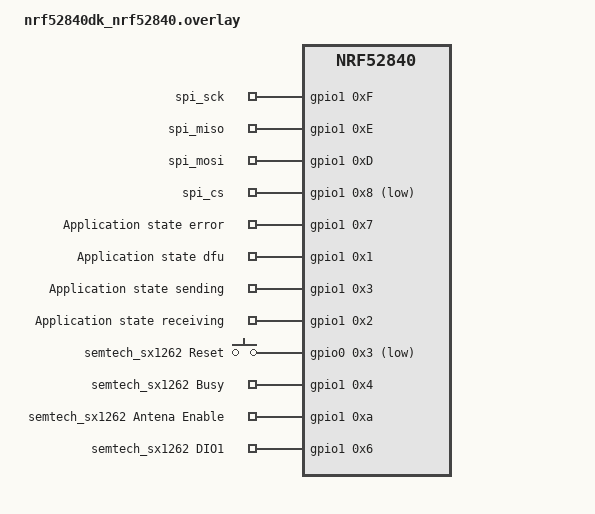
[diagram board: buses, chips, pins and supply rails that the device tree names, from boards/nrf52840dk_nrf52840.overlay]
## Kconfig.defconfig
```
#
# Copyright (c) 2022 Nordic Semiconductor ASA
#
# SPDX-License-Identifier: LicenseRef-Nordic-5-Clause
#

# Bluetooth
config BT_REMOTE_VERSION
	default y

config BT_BUF_ACL_TX_SIZE
	default 251
	default 502 if SIDEWALK_DFU_BLE_FAST

config BT_BUF_ACL_TX_COUNT
	default 3

config BT_BUF_ACL_RX_SIZE
	default 251
	default 502 if SIDEWALK_DFU_BLE_FAST

config BT_BUF_ACL_RX_COUNT
	default 6

config BT_L2CAP_TX_MTU
	default 247
	default 498 if SIDEWALK_DFU_BLE_FAST

config BT_CTLR_DATA_LENGTH_MAX
	default 247
	default 251 if SIDEWALK_DFU_BLE_FAST

config BT_PERIPHERAL_PREF_MIN_INT
	default 16

config BT_PERIPHERAL_PREF_MAX_INT
	default 60

config BT_PERIPHERAL_PREF_LATENCY
	default 0

config BT_PERIPHERAL_PREF_TIMEOUT
	default 400

# NVM
config NVS_LOOKUP_CACHE
	default y

config NVS_LOOKUP_CACHE_SIZE
	default 256

# Stack and Heap
config SYSTEM_WORKQUEUE_STACK_SIZE
	default 4096

config LOG_PROCESS_THREAD_STARTUP_DELAY_MS
	default 50 if SHELL

config SHELL_STACK_SIZE
	default 8192 if SID_END_DEVICE_CLI

config HEAP_MEM_POOL_SIZE
	default 4096

config MBEDTLS_HEAP_SIZE
	default 4096

config SPI_NRFX_RAM_BUFFER_SIZE
	default 0

# CLI
if SID_END_DEVICE_CLI

config SHELL_CMD_BUFF_SIZE
	default 1024

config SHELL_BACKEND_SERIAL_TX_RING_BUFFER_SIZE
	default 128

config SHELL_BACKEND_SERIAL_RX_RING_BUFFER_SIZE
	default 1024

endif # SID_END_DEVICE_CLI

# Others
config SPIN_VALIDATE
    default n

config PARTITION_MANAGER_ENABLED
	default y


config SIDEWALK_MFG_STORAGE_WRITE
	default y
```

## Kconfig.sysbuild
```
#
# Copyright (c) 2023 Nordic Semiconductor ASA
#
# SPDX-License-Identifier: LicenseRef-Nordic-5-Clause
#

config NRF_DEFAULT_IPC_RADIO
	default y if BOARD_NRF5340DK_NRF5340_CPUAPP || BOARD_THINGY53_NRF5340_CPUAPP

choice BOOTLOADER
	default BOOTLOADER_MCUBOOT
endchoice

if BOOTLOADER_MCUBOOT

# Downgrade prevention
choice MCUBOOT_MODE
	default MCUBOOT_MODE_OVERWRITE_ONLY
endchoice

config DFU_MULTI_IMAGE_PACKAGE_BUILD
	default y

config DFU_MULTI_IMAGE_PACKAGE_APP
	default y

config PM_EXTERNAL_FLASH_MCUBOOT_SECONDARY
	default y if BOARD_NRF5340DK_NRF5340_CPUAPP || BOARD_THINGY53_NRF5340_CPUAPP

if (BOARD_NRF5340DK_NRF5340_CPUAPP || BOARD_THINGY53_NRF5340_CPUAPP)

config MCUBOOT_UPDATEABLE_IMAGES
	default 2

choice BOOT_SIGNATURE_TYPE
	default BOOT_SIGNATURE_TYPE_RSA
endchoice

config SECURE_BOOT
	default y

config SECURE_BOOT_NETCORE
	default y

config NETCORE_APP_UPDATE
	default y

config DFU_MULTI_IMAGE_PACKAGE_NET
	default y

endif # (BOARD_NRF5340DK_NRF5340_CPUAPP || BOARD_THINGY53_NRF5340_CPUAPP)

if (BOARD_NRF54L15DK_NRF54L15_CPUAPP || BOARD_NRF54L15DK_NRF54L15_CPUAPP_NS)

# TODO: NCSDK-28931: Cannot use fprotect twice, so disable it in MCUboot to
# test protecting factory data. It can be enabled while there is a support
# for protection more than one region.
config MCUBOOT_FPROTECT_ALLOW_COMBINED_REGIONS
	default n

endif # (BOARD_NRF54L15DK_NRF54L15_CPUAPP || BOARD_NRF54L15DK_NRF54L15_CPUAPP_NS)

endif # BOOTLOADER_MCUBOOT

source "${ZEPHYR_BASE}/share/sysbuild/Kconfig"
```

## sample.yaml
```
sample:
  name: Sidewalk end device sample
  description: Sample implementing Amazon Sidewalk End Device
common:
  sysbuild: true
  build_only: true
  platform_allow:
    - nrf52840dk/nrf52840
    - nrf5340dk/nrf5340/cpuapp
    - nrf54l15dk/nrf54l15/cpuapp
    - nrf54l15dk/nrf54l15/cpuapp/ns
  integration_platforms:
    - nrf52840dk/nrf52840
    - nrf5340dk/nrf5340/cpuapp
    - nrf54l15dk/nrf54l15/cpuapp
    - nrf54l15dk/nrf54l15/cpuapp/ns
tests:
  sample.sidewalk.hello:
    extra_configs:
      - CONFIG_SID_END_DEVICE_PERSISTENT_LINK_MASK=y
      - CONFIG_SIDEWALK_FILE_TRANSFER=y
      - CONFIG_SIDEWALK_APPLICATION_NAME="hello"
    tags: Sidewalk hello

  sample.sidewalk.hello.release:
    extra_args:
      FILE_SUFFIX=release
    extra_configs:
      - CONFIG_SID_END_DEVICE_PERSISTENT_LINK_MASK=y
      - CONFIG_SIDEWALK_APPLICATION_NAME="hello.release"
    tags: Sidewalk hello

  sample.sidewalk.hello.ble_only:
    extra_configs:
      - CONFIG_SIDEWALK_SUBGHZ_SUPPORT=n
      - CONFIG_SIDEWALK_APPLICATION_NAME="hello.ble_only"
    tags: Sidewalk hello BLE

  sample.sidewalk.hello.ble_only.release:
    extra_args:
      FILE_SUFFIX=release
    extra_configs:
      - CONFIG_SIDEWALK_SUBGHZ_SUPPORT=n
      - CONFIG_SIDEWALK_APPLICATION_NAME="hello.ble_only.release"
    tags: Sidewalk hello BLE

  sample.sidewalk.demo:
    extra_args:
      OVERLAY_CONFIG="overlay-demo.conf"
    extra_configs:
      - CONFIG_SID_END_DEVICE_PERSISTENT_LINK_MASK=y
      - CONFIG_SIDEWALK_APPLICATION_NAME="demo"
    tags: Sidewalk demo

  sample.sidewalk.demo.ble_only:
    platform_allow:
      - thingy53/nrf5340/cpuapp
    extra_args:
      OVERLAY_CONFIG="overlay-demo.conf"
    extra_configs:
      - CONFIG_SIDEWALK_SUBGHZ_SUPPORT=n
      - CONFIG_SIDEWALK_APPLICATION_NAME="demo.ble_only"
    integration_platforms:
      - thingy53/nrf5340/cpuapp
    tags: Sidewalk demo BLE

  sample.sidewalk.dut:
    extra_args:
      OVERLAY_CONFIG="overlay-dut.conf"
    extra_configs:
      - CONFIG_SIDEWALK_APPLICATION_NAME="dut"
    tags: Sidewalk cli

  sample.sidewalk.dut.ble_only:
    extra_args:
      OVERLAY_CONFIG="overlay-dut.conf"
    extra_configs:
      - CONFIG_SIDEWALK_SUBGHZ_SUPPORT=n
      - CONFIG_SIDEWALK_APPLICATION_NAME="dut"
    tags: Sidewalk cli BLE

  sample.sidewalk.dut.no_secure:
    extra_args:
      OVERLAY_CONFIG="overlay-dut.conf"
    extra_configs:
      - CONFIG_SIDEWALK_CRYPTO_PSA_KEY_STORAGE=n
      - CONFIG_SIDEWALK_APPLICATION_NAME="dut.no_secure"
    tags: Sidewalk cli no_secure
```

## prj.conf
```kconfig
#
# Copyright (c) 2023 Nordic Semiconductor ASA
#
# SPDX-License-Identifier: LicenseRef-Nordic-5-Clause
#

# Sidewalk
CONFIG_SIDEWALK=y
CONFIG_SIDEWALK_DFU=n
CONFIG_SMF=y

# Log
CONFIG_LOG=y
CONFIG_LOG_PRINTK=y
CONFIG_LOG_BUFFER_SIZE=2048
CONFIG_NVS_LOG_LEVEL_WRN=y

# Bluetooth
CONFIG_BT_DEVICE_NAME="Nordic"

# Power Management
CONFIG_PM_DEVICE=y

# Debug
CONFIG_RESET_ON_FATAL_ERROR=n
CONFIG_SYS_HEAP_RUNTIME_STATS=y
```

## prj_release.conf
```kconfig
#
# Copyright (c) 2022 Nordic Semiconductor ASA
#
# SPDX-License-Identifier: LicenseRef-Nordic-5-Clause
#

# Sidewalk
CONFIG_SIDEWALK=y
CONFIG_SIDEWALK_DFU=n
CONFIG_SMF=y

# Bluetooth
CONFIG_BT_DEVICE_NAME="Nordic"

# Disable peripherals
CONFIG_LOG=n
CONFIG_SERIAL=n
CONFIG_SHELL=n
CONFIG_CONSOLE=n
CONFIG_UART_CONSOLE=n
CONFIG_ASSERT=n
CONFIG_ASSERT_VERBOSE=n
CONFIG_ASSERT_NO_FILE_INFO=y
CONFIG_PRINTK_SYNC=n
CONFIG_THREAD_NAME=n

# Power Management
CONFIG_PM_DEVICE=y
```

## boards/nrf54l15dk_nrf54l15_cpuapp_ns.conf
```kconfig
#
# Copyright (c) 2024 Nordic Semiconductor ASA
#
# SPDX-License-Identifier: LicenseRef-Nordic-5-Clause
#

# Multirole is the only currently supported role by SoftDevice.
CONFIG_BT_LL_SOFTDEVICE_MULTIROLE=y

# nRF54L15 requires bigger stack sizes than nRF52/nRF53 families
CONFIG_MPSL_WORK_STACK_SIZE=2048

# Not supported for 54L15 _NS
CONFIG_FPROTECT=n

# Set the ZMS sector count to match the settings partition size that is 40 kB for this application.
CONFIG_SETTINGS_ZMS_SECTOR_COUNT=10

# Disable tf-m uart to reuse pins for semtech
# CONFIG_TFM_LOG_LEVEL_SILENCE=y
# CONFIG_TFM_SECURE_UART=n
```

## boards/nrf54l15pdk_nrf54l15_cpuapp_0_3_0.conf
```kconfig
#
# Copyright (c) 2024 Nordic Semiconductor ASA
#
# SPDX-License-Identifier: LicenseRef-Nordic-5-Clause
#

CONFIG_SOC_FLASH_NRF_TIMEOUT_MULTIPLIER=100

# Use TRUSTED_STORAGE because this is a secure-only board
CONFIG_TRUSTED_STORAGE=y
```

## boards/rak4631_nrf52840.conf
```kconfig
#
# Copyright (c) 2024 Nordic Semiconductor ASA
#
# SPDX-License-Identifier: LicenseRef-Nordic-5-Clause
#

CONFIG_SIDEWALK_DFU=n

# RTT console
CONFIG_LOG_BACKEND_RTT=y
CONFIG_LOG_BACKEND_RTT_BUFFER=1
CONFIG_SHELL_BACKEND_RTT=y
CONFIG_SHELL=y
CONFIG_LOG_BACKEND_RTT_BUFFER_SIZE=8096
```

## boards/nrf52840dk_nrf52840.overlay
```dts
/*
 * Copyright (c) 2023 Nordic Semiconductor ASA
 *
 * SPDX-License-Identifier: LicenseRef-Nordic-5-Clause
 */

&spi3 {
	status = "disabled";
};

&spi2 {
	status = "disabled";
};

/{
	nrfx_spi_gpios{
		compatible = "gpio-keys";
		nrfx_spi_sck: sck {
			gpios = <&gpio1 0xF GPIO_ACTIVE_HIGH>;
			label = "spi_sck";
		};
		nrfx_spi_miso: miso {
			gpios = <&gpio1 0xE GPIO_ACTIVE_HIGH>;
			label = "spi_miso";
		};
		nrfx_spi_mosi: mosi {
			gpios = <&gpio1 0xD GPIO_ACTIVE_HIGH>;
			label = "spi_mosi";
		};
		nrfx_spi_cs: cs {
			gpios = <&gpio1 0x8 GPIO_ACTIVE_LOW>;
			label = "spi_cs";
		};
	};

	state_notifier_gpios{
		compatible = "gpio-keys";
		state_notifier_error: error  {
			gpios = <&gpio1 0x7 0x0>;
			label = "Application state error";
		};
		state_notifier_dfu: dfu  {
			gpios = <&gpio1 0x1 0x0>;
			label = "Application state dfu";
		};
		state_notifier_sending: sending  {
			gpios = <&gpio1 0x3 0x0>;
			label = "Application state sending";
		};
		state_notifier_receiving: receiving  {
			gpios = <&gpio1 0x2 0x0>;
			label = "Application state receiving";
		};
	};

	aliases {
		state-notifier-connected = &led0;
		state-notifier-time-sync = &led1;
		state-notifier-registered = &led2;
		state-notifier-working = &led3;
		state-notifier-error = &state_notifier_error;
		state-notifier-dfu = &state_notifier_dfu;
		state-notifier-sending = &state_notifier_sending;
		state-notifier-receiving = &state_notifier_receiving;
	};

	semtech_sx1262_gpios{
		compatible = "gpio-keys";
		semtech_sx1262_reset_gpios: reset {
			gpios = <&gpio0 0x3 (GPIO_ACTIVE_LOW|GPIO_PULL_UP)>;
			label = "semtech_sx1262 Reset";
		};
		semtech_sx1262_busy_gpios: busy {
			gpios = <&gpio1 0x4 GPIO_ACTIVE_HIGH>;
			label = "semtech_sx1262 Busy";
		};
		semtech_sx1262_antenna_enable_gpios: antena_enable {
			gpios = <&gpio1 0xa GPIO_ACTIVE_HIGH>;
			label = "semtech_sx1262 Antena Enable";
		};
		semtech_sx1262_dio1_gpios: dio1 {
			gpios = <&gpio1 0x6 (GPIO_ACTIVE_HIGH|GPIO_PULL_DOWN)>;
			label = "semtech_sx1262 DIO1";
		};
	};
};
```

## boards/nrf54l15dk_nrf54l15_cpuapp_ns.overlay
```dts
/*
 * Copyright (c) 2024 Nordic Semiconductor ASA
 *
 * SPDX-License-Identifier: LicenseRef-Nordic-5-Clause
 */

 /{
	aliases {
		state-notifier-connected = &led0;
		state-notifier-time-sync = &led1;
		state-notifier-registered = &led2;
		state-notifier-working = &led3;
	};
};

&cpuapp_rram {
	reg = <0x0 DT_SIZE_K(1524)>;
};

&cpuapp_sram {
	reg = <0x20000000 DT_SIZE_K(256)>;
	ranges = <0x0 0x20000000  0x40000>;
};

// TODO: re-enable HWFC once it's fixed
&uart20 {
	/delete-property/ hw-flow-control;
};


// Change IRQ ids to handle button interrupts.

// The default values for nRF54L15 are 219 and 269,
// but with TF-M they are reserved for the secure domain
// (218 and 268 are reserved for the non-secure domain).
&gpiote20 {
	interrupts = <218 NRF_DEFAULT_IRQ_PRIORITY>;
};

&gpiote30 {
	interrupts = <268 NRF_DEFAULT_IRQ_PRIORITY>;
};
```

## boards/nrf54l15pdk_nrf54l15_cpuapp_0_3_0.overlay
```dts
/*
 * Copyright (c) 2024 Nordic Semiconductor ASA
 *
 * SPDX-License-Identifier: LicenseRef-Nordic-5-Clause
 */


/* Application does not use cpuflpr core. Assign whole RRAM to cpuapp. */
&cpuapp_rram {
	reg = <0x0 DT_SIZE_K(512)>;
};

&pinctrl {
	spi21_default: spi21_default {
		group1 {
			psels = <NRF_PSEL(SPIM_SCK, 2, 6)>,
			        <NRF_PSEL(SPIM_MISO, 1, 11)>,
			        <NRF_PSEL(SPIM_MOSI, 2, 8)>;
		};
	};

	spi21_sleep: spi21_sleep {
		group1 {
			psels = <NRF_PSEL(SPIM_SCK, 2, 6)>,
			        <NRF_PSEL(SPIM_MISO, 1, 11)>,
			        <NRF_PSEL(SPIM_MOSI, 2, 8)>;
			low-power-enable;
		};
	};
};

sid_semtech: &spi21 {
	compatible = "nordic,nrf-spim";
	status = "okay";
	pinctrl-0 = <&spi21_default>;
	pinctrl-1 = <&spi21_sleep>;
	pinctrl-names = "default", "sleep";
	clock-frequency = <DT_FREQ_M(8)>;
};

/{
	aliases {
		state-notifier-connected = &led0;
		state-notifier-time-sync = &led1;
		state-notifier-registered = &led2;
		state-notifier-working = &led3;
	};

	semtech_sx1262_gpios{
		compatible = "gpio-keys";
		semtech_sx1262_cs: cs {
			gpios = <&gpio2 0xa GPIO_PULL_UP>;
			label = "semtech_sx1262 CS";
		};
		semtech_sx1262_reset_gpios: reset {
			gpios = <&gpio0 0x2 (GPIO_ACTIVE_LOW|GPIO_PULL_UP)>;
			label = "semtech_sx1262 Reset";
		};
		semtech_sx1262_busy_gpios: busy {
			gpios = <&gpio0 0x0 0x0>;
			label = "semtech_sx1262 Busy";
		};
		semtech_sx1262_antenna_enable_gpios: antena_enable {
			gpios = <&gpio0 0x1 0x0>;
			label = "semtech_sx1262 Antena Enable";
		};
		semtech_sx1262_dio1_gpios: dio1 {
			gpios = <&gpio0 0x3  0x0>;
			label = "semtech_sx1262 DIO1";
		};
	};
};

&gpio1 {
	status = "okay";
};

&gpio2 {
	status = "okay";
};

&gpio0 {
	status = "okay";
};
```

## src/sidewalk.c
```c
/*
 * Copyright (c) 2023 Nordic Semiconductor ASA
 *
 * SPDX-License-Identifier: LicenseRef-Nordic-5-Clause
 */
#include <sidewalk.h>
#include <sid_pal_common_ifc.h>
#include <sid_hal_memory_ifc.h>
#include <json_printer/sidTypes2Json.h>
#include <sidewalk_dfu/nordic_dfu.h>
#include <app_mfg_config.h>
#ifdef CONFIG_SIDEWALK_SUBGHZ_SUPPORT
#include <app_subGHz_config.h>
#endif /* CONFIG_SIDEWALK_SUBGHZ_SUPPORT */
#ifdef CONFIG_SIDEWALK_FILE_TRANSFER
#include <sbdt/file_transfer.h>
#include <sid_bulk_data_transfer_api.h>
#ifdef CONFIG_SIDEWALK_FILE_TRANSFER_DFU
#include <sidewalk_dfu/nordic_dfu_img.h>
#include <zephyr/dfu/mcuboot.h>
#endif /* CONFIG_SIDEWALK_FILE_TRANSFER_DFU */
#include <stdio.h> // print hash only
#include <sid_pal_crypto_ifc.h> // print hash only
#endif /* CONFIG_SIDEWALK_FILE_TRANSFER */
#ifdef CONFIG_SID_END_DEVICE_CLI
#include <cli/app_dut.h>
#endif /* CONFIG_SID_END_DEVICE_CLI */
#ifdef CONFIG_SID_END_DEVICE_PERSISTENT_LINK_MASK
#include <settings_utils.h>
#endif /* CONFIG_SID_END_DEVICE_PERSISTENT_LINK_MASK */

#include <zephyr/kernel.h>
#include <zephyr/smf.h>
#include <zephyr/sys/reboot.h>
#include <zephyr/logging/log.h>
#include <zephyr/logging/log_ctrl.h>

#ifdef CONFIG_SIDEWALK_LINK_MASK_BLE
#define DEFAULT_LM (uint32_t)(SID_LINK_TYPE_1)
#elif CONFIG_SIDEWALK_LINK_MASK_FSK
#define DEFAULT_LM (uint32_t)(SID_LINK_TYPE_2)
#elif CONFIG_SIDEWALK_LINK_MASK_LORA
#define DEFAULT_LM (uint32_t)(SID_LINK_TYPE_1 | SID_LINK_TYPE_3)
#else
#define DEFAULT_LM (uint32_t)(SID_LINK_TYPE_1)
#endif

LOG_MODULE_REGISTER(sidewalk_app, CONFIG_SIDEWALK_LOG_LEVEL);

static struct k_thread sid_thread;
K_THREAD_STACK_DEFINE(sid_thread_stack, CONFIG_SIDEWALK_THREAD_STACK_SIZE);

sys_slist_t pending_message_list = SYS_SLIST_STATIC_INIT(&pending_message_list);
K_MUTEX_DEFINE(pending_message_list_mutex);

sidewalk_msg_t *get_message_buffer(uint16_t message_id)
{
	sidewalk_msg_t *pending_message;
	sidewalk_msg_t *iterator;
	int mutex_err =
		k_mutex_lock(&pending_message_list_mutex, k_is_in_isr() ? K_NO_WAIT : K_FOREVER);
	if (mutex_err != 0) {
		LOG_ERR("Failed to lock mutex for message list");
		return NULL;
	}
	SYS_SLIST_FOR_EACH_CONTAINER_SAFE (&pending_message_list, pending_message, iterator, node) {
		if (pending_message->desc.id == message_id) {
			if (sys_slist_find_and_remove(&pending_message_list,
						      &pending_message->node) == false) {
				LOG_ERR("Failed to remove pending message from list");
			};
			k_mutex_unlock(&pending_message_list_mutex);
			return pending_message;
		}
	}
	k_mutex_unlock(&pending_message_list_mutex);
	return NULL;
}

typedef struct sm_s {
	struct smf_ctx ctx;
	struct k_msgq msgq;
	sidewalk_ctx_event_t event;
	sidewalk_ctx_t *sid;
} sm_t;

enum state {
	STATE_SIDEWALK,
	STATE_DFU,
};

static void state_sidewalk_run(void *o);
static void state_sidewalk_entry(void *o);
static void state_sidewalk_exit(void *o);
static void state_dfu_entry(void *o);
static void state_dfu_run(void *o);

static const struct smf_state sid_states[] = {
	[STATE_SIDEWALK] = SMF_CREATE_STATE(state_sidewalk_entry, state_sidewalk_run,
					    state_sidewalk_exit, NULL, NULL),
	[STATE_DFU] = SMF_CREATE_STATE(state_dfu_entry, state_dfu_run, NULL, NULL, NULL),
};

static uint8_t __aligned(4)
	sid_msgq_buff[CONFIG_SIDEWALK_THREAD_QUEUE_SIZE * sizeof(sidewalk_ctx_event_t)];
static sm_t sid_sm;

static void state_sidewalk_entry(void *o)
{
	platform_parameters_t platform_parameters = {
		.mfg_store_region.addr_start = APP_MFG_CFG_FLASH_START,
		.mfg_store_region.addr_end = APP_MFG_CFG_FLASH_END,
#ifdef CONFIG_SIDEWALK_SUBGHZ_SUPPORT
		.platform_init_parameters.radio_cfg =
			(radio_sx126x_device_config_t *)get_radio_cfg(),
#endif
	};

	sid_error_t e = sid_platform_init(&platform_parameters);
	if (SID_ERROR_NONE != e) {
		LOG_ERR("Sidewalk Platform Init err: %d", e);
		return;
	}

	if (app_mfg_cfg_is_valid()) {
		LOG_ERR("The mfg.hex version mismatch");
		LOG_ERR("Check if the file has been generated and flashed properly");
		LOG_ERR("START ADDRESS: 0x%08x", APP_MFG_CFG_FLASH_START);
		LOG_ERR("SIZE: 0x%08x", APP_MFG_CFG_FLASH_SIZE);
		return;
	}

#ifdef CONFIG_SID_END_DEVICE_AUTO_START
	sm_t *sm = (sm_t *)o;

#ifdef CONFIG_SID_END_DEVICE_PERSISTENT_LINK_MASK
	int err = settings_utils_link_mask_get(&sm->sid->config.link_mask);
	if (err <= 0) {
		LOG_WRN("Link mask get failed %d", err);
		sm->sid->config.link_mask = 0;
		settings_utils_link_mask_set(DEFAULT_LM);
	}
#endif /* CONFIG_SID_END_DEVICE_PERSISTENT_LINK_MASK */

	if (!sm->sid->config.link_mask) {
		sm->sid->config.link_mask = DEFAULT_LM;
	}

	LOG_INF("Sidewalk link switch to %s",
		(SID_LINK_TYPE_3 & sm->sid->config.link_mask) ? "LoRa" :
		(SID_LINK_TYPE_2 & sm->sid->config.link_mask) ? "FSK" :
								"BLE");
	e = sid_init(&sm->sid->config, &sm->sid->handle);
	if (e) {
		LOG_ERR("sid init err %d", (int)e);
	}

	e = sid_start(sm->sid->handle, sm->sid->config.link_mask);
	if (e) {
		LOG_ERR("sid start err %d", (int)e);
	}

#if CONFIG_SID_END_DEVICE_AUTO_CONN_REQ
	if (sm->sid->config.link_mask & SID_LINK_TYPE_1) {
		enum sid_link_connection_policy set_policy =
			SID_LINK_CONNECTION_POLICY_AUTO_CONNECT;

		e = sid_option(sm->sid->handle, SID_OPTION_SET_LINK_CONNECTION_POLICY, &set_policy,
			       sizeof(set_policy));
		if (e) {
			LOG_ERR("sid option multi link manager err %d", (int)e);
		}

		struct sid_link_auto_connect_params ac_params = {
			.link_type = SID_LINK_TYPE_1,
			.enable = true,
			.priority = 0,
			.connection_attempt_timeout_seconds = 30
		};

		e = sid_option(sm->sid->handle, SID_OPTION_SET_LINK_POLICY_AUTO_CONNECT_PARAMS,
			       &ac_params, sizeof(ac_params));
		if (e) {
			LOG_ERR("sid option multi link policy err %d", (int)e);
		}
	}
#endif /* CONFIG_SID_END_DEVICE_AUTO_CONN_REQ */

#endif /* CONFIG_SIDEWALK_AUTO_START */

#ifdef CONFIG_SIDEWALK_FILE_TRANSFER_DFU
	/* TODO: Remove. == TEST ONLY BEGIN == */
	int dfu_err = nordic_dfu_img_init();
	if (dfu_err) {
		LOG_ERR("dfu img init fail %d", dfu_err);
	} else {
		LOG_INF("dfu img init ok");
	}

	/* == TEST ONLY END == */

	dfu_err = boot_write_img_confirmed();
	if (dfu_err) {
		LOG_ERR("img confirm fail %d", dfu_err);
	}
#endif /* CONFIG_SIDEWALK_FILE_TRANSFER_DFU */
#ifdef CONFIG_SIDEWALK_FILE_TRANSFER
	app_file_transfer_demo_init(((sm_t *)o)->sid->handle);
#endif /* CONFIG_SIDEWALK_FILE_TRANSFER */
}

static void state_sidewalk_run(void *o)
{
	sm_t *sm = (sm_t *)o;
	sid_error_t e = SID_ERROR_NONE;

	switch (sm->event.id) {
	case SID_EVENT_SIDEWALK: {
		e = sid_process(sm->sid->handle);
		if (e) {
			LOG_ERR("sid process err %d", (int)e);
		}
	} break;
	case SID_EVENT_FACTORY_RESET: {
#ifdef CONFIG_SID_END_DEVICE_PERSISTENT_LINK_MASK
		(void)settings_utils_link_mask_set(0);
#endif /* CONFIG_SIDEWALK_PERSISTENT_LINK_MASK */
		e = sid_set_factory_reset(sm->sid->handle);
		if (e) {
			LOG_ERR("sid factory reset err %d", (int)e);
		}
	} break;
	case SID_EVENT_LINK_SWITCH: {
		static uint32_t new_link_mask = DEFAULT_LM;

		switch (sm->sid->config.link_mask) {
		case SID_LINK_TYPE_1:
			new_link_mask = SID_LINK_TYPE_2;
			break;
		case SID_LINK_TYPE_2:
			new_link_mask = SID_LINK_TYPE_1 | SID_LINK_TYPE_3;
			break;
		default:
			new_link_mask = SID_LINK_TYPE_1;
			break;
		}
		sm->sid->config.link_mask = new_link_mask;

		LOG_INF("Sidewalk link switch to %s", (SID_LINK_TYPE_3 & new_link_mask) ? "LoRa" :
						      (SID_LINK_TYPE_2 & new_link_mask) ? "FSK" :
											  "BLE");
#ifdef CONFIG_SID_END_DEVICE_PERSISTENT_LINK_MASK
		int err = settings_utils_link_mask_set(new_link_mask);
		if (err) {
			LOG_ERR("New link mask set err %d", err);
		}
#endif /* CONFIG_SID_END_DEVICE_PERSISTENT_LINK_MASK */

		if (sm->sid->handle != NULL) {
#ifdef CONFIG_SIDEWALK_FILE_TRANSFER
			app_file_transfer_demo_deinit(sm->sid->handle);
#endif
			e = sid_deinit(sm->sid->handle);
			if (e) {
				LOG_ERR("sid deinit err %d", (int)e);
			}
		}

		e = sid_init(&sm->sid->config, &sm->sid->handle);
		if (e) {
			LOG_ERR("sid init err %d", (int)e);
		}
#ifdef CONFIG_SIDEWALK_FILE_TRANSFER
		app_file_transfer_demo_init(sm->sid->handle);
#endif
		e = sid_start(sm->sid->handle, sm->sid->config.link_mask);
		if (e) {
			LOG_ERR("sid start err %d", (int)e);
		}
#if CONFIG_SID_END_DEVICE_AUTO_CONN_REQ
		if (sm->sid->config.link_mask & SID_LINK_TYPE_1) {
			enum sid_link_connection_policy set_policy =
				SID_LINK_CONNECTION_POLICY_AUTO_CONNECT;

			e = sid_option(sm->sid->handle, SID_OPTION_SET_LINK_CONNECTION_POLICY,
				       &set_policy, sizeof(set_policy));
			if (e) {
				LOG_ERR("sid option multi link manager err %d", (int)e);
			}

			struct sid_link_auto_connect_params ac_params = {
				.link_type = SID_LINK_TYPE_1,
				.enable = true,
				.priority = 0,
				.connection_attempt_timeout_seconds = 30
			};

			e = sid_option(sm->sid->handle,
				       SID_OPTION_SET_LINK_POLICY_AUTO_CONNECT_PARAMS, &ac_params,
				       sizeof(ac_params));
			if (e) {
				LOG_ERR("sid option multi link policy err %d", (int)e);
			}
		}
#endif /* CONFIG_SID_END_DEVICE_AUTO_CONN_REQ */
	} break;
	case SID_EVENT_NORDIC_DFU: {
#ifdef CONFIG_SIDEWALK_FILE_TRANSFER
		app_file_transfer_demo_deinit(sm->sid->handle);
#endif
		e = sid_deinit(sm->sid->handle);
		if (e) {
			LOG_ERR("sid deinit err %d", (int)e);
		}
		smf_set_state(SMF_CTX(sm), &sid_states[STATE_DFU]);
	} break;
	case SID_EVENT_NEW_STATUS: {
		struct sid_status *p_status = (struct sid_status *)sm->event.ctx;
		if (!p_status) {
			LOG_ERR("sid new status is NULL");
			break;
		}

		memcpy(&sm->sid->last_status, p_status, sizeof(struct sid_status));
		sid_hal_free(p_status);
	} break;
	case SID_EVENT_SEND_MSG: {
		sidewalk_msg_t *p_msg = (sidewalk_msg_t *)sm->event.ctx;
		if (!p_msg) {
			LOG_ERR("sid send msg is NULL");
			break;
		}

		e = sid_put_msg(sm->sid->handle, &p_msg->msg, &p_msg->desc);
		if (e) {
			LOG_ERR("sid send err %d", (int)e);
		}
		LOG_DBG("sid send (type: %d, id: %u)", (int)p_msg->desc.type, p_msg->desc.id);
		int mutex_err = k_mutex_lock(&pending_message_list_mutex, K_FOREVER);
		if (mutex_err != 0) {
			LOG_ERR("Failed to lock mutex for message list");
			break;
		}
		sys_slist_append(&pending_message_list, &p_msg->node);
		k_mutex_unlock(&pending_message_list_mutex);
	} break;
	case SID_EVENT_CONNECT: {
		if (!(sm->sid->config.link_mask & SID_LINK_TYPE_1)) {
			LOG_ERR("Can not request connection - BLE not enabled");
			return;
		}
		sid_error_t e = sid_ble_bcn_connection_request(sm->sid->handle, true);
		if (e) {
			LOG_ERR("sid conn req err %d", (int)e);
		}
	} break;
	case SID_EVENT_FILE_TRANSFER: {
#ifdef CONFIG_SIDEWALK_FILE_TRANSFER
		sidewalk_transfer_t *transfer = (sidewalk_transfer_t *)sm->event.ctx;
		if (!transfer) {
			LOG_ERR("File transfer event data is NULL");
			break;
		}

		LOG_INF("Received file Id %d; buffer size %d; file offset %d", transfer->file_id,
			transfer->data_size, transfer->file_offset);

		// print data hash
		uint8_t hash_out[32];
		sid_pal_hash_params_t params = { .algo = SID_PAL_HASH_SHA256,
						 .data = transfer->data,
						 .data_size = transfer->data_size,
						 .digest = hash_out,
						 .digest_size = sizeof(hash_out) };

		sid_error_t e = sid_pal_crypto_hash(&params);
		if (e != SID_ERROR_NONE) {
			LOG_ERR("Failed to hash received file transfer with error %s",
				SID_ERROR_T_STR(e));
		} else {
#define HEX_PRINTER(a, ...) "%02X"
#define HEX_PRINTER_ARG(a, ...) hash_out[a]
			char hex_str[sizeof(hash_out) * 2 + 1] = { 0 };
			snprintf(hex_str, sizeof(hex_str), LISTIFY(32, HEX_PRINTER, ()),
				 LISTIFY(32, HEX_PRINTER_ARG, (, )));
			LOG_INF("SHA256: %s", hex_str);
		}

#ifdef CONFIG_SIDEWALK_FILE_TRANSFER_DFU
		int err = nordic_dfu_img_write(transfer->file_offset, transfer->data,
					       transfer->data_size);

		if (err) {
			LOG_ERR("Fail to write img %d", err);
			err = nordic_dfu_img_cancel();
			if (err) {
				LOG_ERR("Fail to complete dfu %d", err);
			}
			e = sid_bulk_data_transfer_cancel(
				sm->sid->handle, transfer->file_id,
				SID_BULK_DATA_TRANSFER_REJECT_REASON_FILE_TOO_BIG);
			if (e != SID_ERROR_NONE) {
				LOG_ERR("sbdt cancel ret %s", SID_ERROR_T_STR(e));
			}

			sid_hal_free(transfer);
			break;
		}
#endif /* CONFIG_SIDEWALK_FILE_TRANSFER_DFU */
		const struct sid_bulk_data_transfer_buffer sbdt_buffer = {
			.data = transfer->data,
			.size = transfer->data_size,
		};
		e = sid_bulk_data_transfer_release_buffer(sm->sid->handle, transfer->file_id,
							  &sbdt_buffer);
		if (e != SID_ERROR_NONE) {
			LOG_ERR("sbdt release ret %s", SID_ERROR_T_STR(e));
		}

		// free event context
		sid_hal_free(transfer);
#endif /* CONFIG_SIDEWALK_FILE_TRANSFER */
	} break;
	case SID_EVENT_REBOOT: {
		LOG_INF("Rebooting...");
		LOG_PANIC();
		sys_reboot(SYS_REBOOT_WARM);
	} break;
	case SID_EVENT_LAST:
		break;
	}

#ifdef CONFIG_SID_END_DEVICE_CLI
	if (sm->event.id >= SID_EVENT_LAST) {
		app_dut_event_process(sm->event, sm->sid);
	}
#endif /* CONFIG_SID_END_DEVICE_CLI */
}

static void state_sidewalk_exit(void *o)
{
	int mutex_err = k_mutex_lock(&pending_message_list_mutex, K_FOREVER);
	if (mutex_err != 0) {
		LOG_ERR("Failed to lock mutex for message list");
		return;
	}
	sys_snode_t *list_element = sys_slist_get(&pending_message_list);

	while (list_element != NULL) {
		sidewalk_msg_t *message = SYS_SLIST_CONTAINER(list_element, message, node);
		sid_hal_free(message->msg.data);
		sid_hal_free(message);

		list_element = sys_slist_get(&pending_message_list);
	}
	k_mutex_unlock(&pending_message_list_mutex);
}

static void state_dfu_entry(void *o)
{
	sm_t *sm = (sm_t *)o;

	LOG_INF("Entering into DFU mode");
	int err = -ENOTSUP;
#if defined(CONFIG_SIDEWALK_DFU_SERVICE_BLE)
	err = nordic_dfu_ble_start();
#endif
	if (err) {
		LOG_ERR("dfu start err %d", err);
		smf_set_state(SMF_CTX(sm), &sid_states[STATE_SIDEWALK]);
		return;
	}
}

static void state_dfu_run(void *o)
{
	sm_t *sm = (sm_t *)o;
	int err = -ENOTSUP;
	switch (sm->event.id) {
	case SID_EVENT_NORDIC_DFU:
#if defined(CONFIG_SIDEWALK_DFU_SERVICE_BLE)
		err = nordic_dfu_ble_stop();
#endif
		if (err) {
			LOG_ERR("dfu stop err %d", err);
		}

		smf_set_state(SMF_CTX(sm), &sid_states[STATE_SIDEWALK]);
		break;
	case SID_EVENT_NEW_STATUS:
	case SID_EVENT_SEND_MSG:
	case SID_EVENT_CONNECT:
	case SID_EVENT_FACTORY_RESET:
	case SID_EVENT_LINK_SWITCH:
	case SID_EVENT_SIDEWALK:
	case SID_EVENT_FILE_TRANSFER:
	case SID_EVENT_REBOOT:
		LOG_INF("Operation not supported in DFU mode");
		break;
	case SID_EVENT_LAST:
		break;
	}
}

static void sid_thread_entry(void *context, void *unused, void *unused2)
{
	ARG_UNUSED(unused);
	ARG_UNUSED(unused2);

	sid_sm.sid = (sidewalk_ctx_t *)context;

	k_msgq_init(&sid_sm.msgq, sid_msgq_buff, sizeof(sidewalk_ctx_event_t),
		    CONFIG_SIDEWALK_THREAD_QUEUE_SIZE);
	smf_set_initial(SMF_CTX(&sid_sm), &sid_states[STATE_SIDEWALK]);

	while (1) {
		int err = k_msgq_get(&sid_sm.msgq, &sid_sm.event, K_FOREVER);
		if (!err) {
			if (smf_run_state(SMF_CTX(&sid_sm))) {
				LOG_ERR("Sidewalk state machine termination");
				break;
			}
		} else {
			LOG_ERR("Sidewalk msgq err %d", err);
		}
	}

	LOG_ERR("Sidewalk thread ends. You should never see this message.");
}

void sidewalk_start(sidewalk_ctx_t *context)
{
	(void)k_thread_create(&sid_thread, sid_thread_stack,
			      K_THREAD_STACK_SIZEOF(sid_thread_stack), sid_thread_entry, context,
			      NULL, NULL, CONFIG_SIDEWALK_THREAD_PRIORITY, 0, K_NO_WAIT);
	(void)k_thread_name_set(&sid_thread, "sidewalk");
}

int sidewalk_event_send(sidewalk_event_t event, void *ctx)
{
	sidewalk_ctx_event_t ctx_event = {
		.id = event,
		.ctx = ctx,
	};

	const int result = k_msgq_put(&sid_sm.msgq, (void *)&ctx_event, K_NO_WAIT);
	LOG_DBG("sidewalk_event_send event = %d (%s), context = %p, k_msgq_put result %d", event,
		SIDEWALK_EVENT_T_STR(event), ctx, result);
	return result;
}
```
